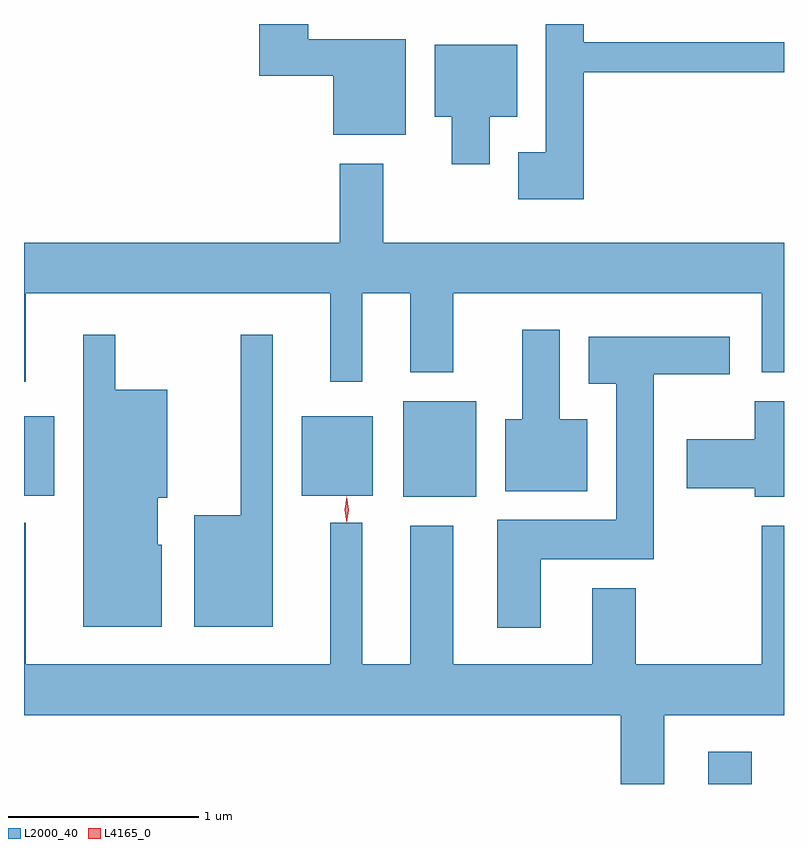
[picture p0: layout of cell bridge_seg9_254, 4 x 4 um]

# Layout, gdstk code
import gdstk
lib = gdstk.Library(unit=1e-6, precision=1e-09)
def R(c, l, rs):  # rectangles x0, y0, x1, y1
    for r in rs: c.add(gdstk.rectangle(r[:2], r[2:], *l))
def P(c, l, *ps):  # polygons
    for p in ps: c.add(gdstk.Polygon(p, *l))
L2000_40 = (2000, 40)
L4165_0 = (4165, 0)

bridge_seg9_254 = lib.new_cell('bridge_seg9_254')
R(bridge_seg9_254, L2000_40, [(1071.591,2051.394,1071.819,2051.564), (1069.986,2052.906,1070.369,2053.409), (1067.989,2052.911,1068.149,2053.329), (1069.451,2052.911,1069.824,2053.329)])
P(bridge_seg9_254, L2000_40, [(1070.934,2055.141),(1071.989,2055.141),(1071.989,2055.299),(1070.934,2055.299),(1070.934,2055.394),(1070.736,2055.394),(1070.736,2054.719),(1070.591,2054.719),(1070.591,2054.471),(1070.934,2054.471)],
  [(1069.999,2055.314),(1069.484,2055.314),(1069.484,2055.394),(1069.226,2055.394),(1069.226,2055.121),(1069.616,2055.121),(1069.616,2054.811),(1069.999,2054.811)],
  [(1070.439,2054.906),(1070.584,2054.906),(1070.584,2055.284),(1070.151,2055.284),(1070.151,2054.906),(1070.241,2054.906),(1070.241,2054.656),(1070.439,2054.656)],
  [(1067.999,2053.976),(1069.601,2053.976),(1069.601,2053.512),(1069.769,2053.512),(1069.769,2053.976),(1070.021,2053.976),(1070.021,2053.561),(1070.249,2053.561),(1070.249,2053.976),(1071.871,2053.976),(1071.871,2053.561),(1071.989,2053.561),(1071.989,2054.244),(1069.879,2054.244),(1069.879,2054.659),(1069.651,2054.659),(1069.651,2054.244),(1067.989,2054.244),(1067.989,2053.512),(1067.999,2053.512)],
  [(1070.954,2053.314),(1070.809,2053.314),(1070.809,2053.784),(1070.611,2053.784),(1070.611,2053.314),(1070.521,2053.314),(1070.521,2052.936),(1070.954,2052.936)],
  [(1068.714,2052.654),(1068.694,2052.654),(1068.694,2052.901),(1068.744,2052.901),(1068.744,2053.469),(1068.469,2053.469),(1068.469,2053.758),(1068.301,2053.758),(1068.301,2052.221),(1068.714,2052.221)],
  [(1069.299,2053.758),(1069.131,2053.758),(1069.131,2052.809),(1068.886,2052.809),(1068.886,2052.221),(1069.299,2052.221)],
  [(1070.709,2052.576),(1071.304,2052.576),(1071.304,2053.551),(1071.704,2053.551),(1071.704,2053.749),(1070.961,2053.749),(1070.961,2053.501),(1071.106,2053.501),(1071.106,2052.784),(1070.481,2052.784),(1070.481,2052.216),(1070.709,2052.216)],
  [(1071.989,2053.409),(1071.836,2053.409),(1071.836,2053.209),(1071.476,2053.209),(1071.476,2052.951),(1071.836,2052.951),(1071.836,2052.906),(1071.989,2052.906)],
  [(1071.359,2051.756),(1071.989,2051.756),(1071.989,2052.754),(1071.871,2052.754),(1071.871,2052.024),(1071.209,2052.024),(1071.209,2052.424),(1070.981,2052.424),(1070.981,2052.024),(1070.249,2052.024),(1070.249,2052.754),(1070.021,2052.754),(1070.021,2052.024),(1069.769,2052.024),(1069.769,2052.768),(1069.601,2052.768),(1069.601,2052.024),(1067.999,2052.024),(1067.999,2052.768),(1067.989,2052.768),(1067.989,2051.756),(1071.131,2051.756),(1071.131,2051.394),(1071.359,2051.394)])
P(bridge_seg9_254, L4165_0, [(1069.687,2052.773),(1069.687,2052.773),(1069.677,2052.837),(1069.687,2052.901),(1069.687,2052.902),(1069.688,2052.901),(1069.697,2052.837),(1069.688,2052.773)],
  [(1069.687,2052.769),(1069.687,2052.77),(1069.677,2052.838),(1069.687,2052.906),(1069.687,2052.906),(1069.688,2052.906),(1069.697,2052.838),(1069.688,2052.77)])

lib.write_gds('bridge_seg9_254.gds')
